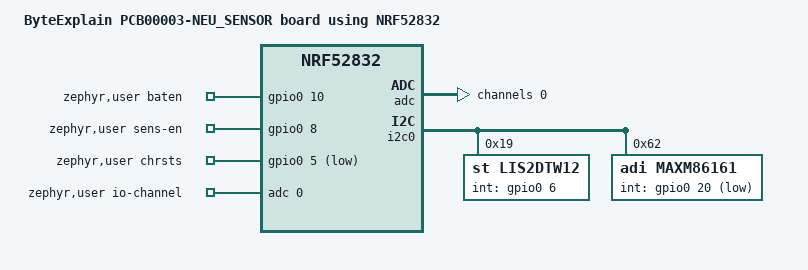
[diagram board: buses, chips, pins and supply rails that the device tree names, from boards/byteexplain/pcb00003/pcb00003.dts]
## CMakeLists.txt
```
cmake_minimum_required(VERSION 3.20.0)

# The repository root formerly carried an experimental application target. It
# is not the release entry point. Keep this explicit fence so a fresh checkout
# cannot silently build stale root/src sources instead of the canonical app/.
message(FATAL_ERROR "The repository root is not a firmware application entry point. For Gen1 use scripts/build_firmware.sh (app/, pcb00003/nrf52832, NCS v2.7.0). For the non-release Gen2 candidate use scripts/build_gen2_app.sh with explicit --ncs-root and --toolchain arguments; see docs/GEN2_PROGRAM_GATE.md.")

# Tell Zephyr to look in this project folder for the 'boards' directory
set(BOARD_ROOT ${CMAKE_CURRENT_SOURCE_DIR})

find_package(Zephyr REQUIRED HINTS $ENV{ZEPHYR_BASE})

project(tgm_firmware)

#
# Ensure generated headers exist early enough for out-of-tree driver targets.
# Some Zephyr headers include <offsets.h>, which is generated later in the build.
# Touching it here avoids parallel-build races while the real generator runs.
#
set(INCL_GENERATED_DIR ${CMAKE_BINARY_DIR}/zephyr/include/generated)
file(MAKE_DIRECTORY ${INCL_GENERATED_DIR})
file(TOUCH ${INCL_GENERATED_DIR}/offsets.h)
target_sources(app PRIVATE
    src/main.c
    src/ble.c
    src/ppg.c
    src/acc.c
    src/battery.c
    src/power_profiler.c
    src/tgm_service.c
    drivers/sensor/maxm86161/maxm86161.c
    drivers/sensor/lis2dtw12/lis2dtw12.c
)
target_include_directories(app PRIVATE src)
zephyr_include_directories(include)
add_subdirectory(drivers)
```

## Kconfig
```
# SPDX-License-Identifier: Apache-2.0

mainmenu "TGM Firmware"

source "Kconfig.zephyr"

# Application Kconfig
rsource "src/Kconfig"
rsource "drivers/Kconfig"
```

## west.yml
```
# Copyright (c) 2021 Nordic Semiconductor ASA
# SPDX-License-Identifier: Apache-2.0

manifest:
  self:
    path: app   # <--- Change this from '.' or empty to 'app'
    west-commands: scripts/west-commands.yml
  remotes:
    - name: ncs
      url-base: https://github.com/nrfconnect

  projects:
    - name: nrf
      remote: ncs
      repo-path: sdk-nrf
      revision: v2.7.0
      import: true
```

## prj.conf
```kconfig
# Copyright (c) 2024 WeeGee bv
#
# This file contains selected Kconfig options for the TGM application.

# Enable BLE
CONFIG_BT=y
CONFIG_BT_PERIPHERAL=y
CONFIG_BT_DEVICE_NAME="MAM"

# Peripheral connection preferences (interval in 1.25ms units; supervision timeout in 10ms units).
# NCS defaults use a very short supervision timeout (~420ms), which causes frequent iOS
# CBError.connectionTimeout under load, backgrounding, or bursty ATT traffic. Prefer >=2s.
CONFIG_BT_GAP_AUTO_UPDATE_CONN_PARAMS=y
CONFIG_BT_GAP_PERIPHERAL_PREF_PARAMS=y
CONFIG_BT_PERIPHERAL_PREF_MIN_INT=12
CONFIG_BT_PERIPHERAL_PREF_MAX_INT=36
CONFIG_BT_PERIPHERAL_PREF_LATENCY=0
#
# Supervision timeout in 10ms units. 300 (=3s) is too short for iOS under load
# and can trigger CBError.connectionTimeout even with good RSSI. Prefer >=10s.
CONFIG_BT_PERIPHERAL_PREF_TIMEOUT=1000

# For requesting ATT_MTU update
CONFIG_BT_GATT_CLIENT=y
# For data length update - requires BT_DATA_LEN_UPDATE
CONFIG_BT_DATA_LEN_UPDATE=y
CONFIG_BT_USER_DATA_LEN_UPDATE=y
# Max supported by Nordic Softdevice controller
CONFIG_BT_CTLR_DATA_LENGTH_MAX=251
CONFIG_BT_BUF_ACL_TX_SIZE=251
CONFIG_BT_BUF_ACL_RX_SIZE=251
# Maximum supported by Nordic Softdevice controller (Data length - 4)
CONFIG_BT_L2CAP_TX_MTU=247

# Enable the sensor drivers
CONFIG_GPIO=y
CONFIG_I2C=y
CONFIG_SENSOR=y
CONFIG_ADC=y

# PPG
CONFIG_MAXM86161=y
CONFIG_PPG_SAMPLES_PER_FRAME=20

# Accelerometer
CONFIG_LIS2DTW12=y
CONFIG_ACC_SAMPLES_PER_FRAME=25

# Battery - reduced from 300s to 10s for better iOS responsiveness
CONFIG_BATTERY_MEASUREMENT_INTERVAL=10
CONFIG_BATTERY_CRITICAL_LOW_SHUTDOWN=y

# Reboot for critical low voltage shutdown
CONFIG_REBOOT=y

# Temperature
CONFIG_TEMPERATURE_MEASUREMENT_INTERVAL=1

# Debugging
CONFIG_LOG=y
CONFIG_LOG_PROCESS_THREAD_STACK_SIZE=1024
CONFIG_DEBUG_OPTIMIZATIONS=y
CONFIG_DEBUG_THREAD_INFO=y

# J-Link RTT logging (lets us see BLE connect/disconnect reasons live).
CONFIG_PRINTK=y
CONFIG_USE_SEGGER_RTT=y
CONFIG_LOG_BACKEND_RTT=y
# Route printk/console to SEGGER RTT so buffer 0 + control block exist from boot
# (J-Link RTT Client / RTTLogger can attach without hunting forever).
CONFIG_CONSOLE=y
CONFIG_RTT_CONSOLE=y
# CONFIG_UART_CONSOLE is not set

# DFU functionality
CONFIG_NCS_SAMPLE_MCUMGR_BT_OTA_DFU=y
CONFIG_BOOTLOADER_MCUBOOT=y

# Ensure SMP (mcumgr over BLE) GATT service is present.
# nRF Connect Device Manager requires the SMP service to connect.
# Do NOT set CONFIG_BT_DFU_SMP here — that is the central SMP *client*
# (Central SMP Client sample), not the peripheral OTA server path.
# Canonical DFU Kconfigs live in app/prj.conf (west build -b pcb00003 … app).
CONFIG_MCUMGR=y
CONFIG_IMG_MANAGER=y
CONFIG_MCUMGR_GRP_IMG=y
CONFIG_MCUMGR_GRP_OS=y
CONFIG_MCUMGR_TRANSPORT_BT=y

# Register SMP GATT statically. Dynamic registration runs from SYS_INIT before our
# app calls bt_enable(), which can result in no SMP service at runtime.
CONFIG_MCUMGR_TRANSPORT_BT_DYNAMIC_SVC_REGISTRATION=n
```

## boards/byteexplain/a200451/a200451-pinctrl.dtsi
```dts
/*
 * Copyright (c) 2022 Nordic Semiconductor
 * SPDX-License-Identifier: Apache-2.0
 */

&pinctrl {
	i2c0_default: i2c0_default {
		group1 {
			psels = <NRF_PSEL(TWIM_SDA, 0, 18)>,
					<NRF_PSEL(TWIM_SCL, 0, 6)>;
		};
	};

	i2c0_sleep: i2c0_sleep {
		group1 {
			psels = <NRF_PSEL(TWIM_SDA, 0, 18)>,
					<NRF_PSEL(TWIM_SCL, 0, 6)>;
			low-power-enable;
		};
	};

};
```

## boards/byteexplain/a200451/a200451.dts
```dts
/*
 * Copyright (c) 2017 Shawn Nock <shawn@monadnock.ca>
 * Copyright (c) 2017 Linaro Limited
 *
 * SPDX-License-Identifier: Apache-2.0
 */

/dts-v1/;
#include <nordic/nrf52832_qfaa.dtsi>
#include "a200451-pinctrl.dtsi"
#include <zephyr/dt-bindings/input/input-event-codes.h>

/ {
	model = "ByteExplain a200451 board using NRF52832";
	compatible = "byteexplain,a200451";

	chosen {
		zephyr,sram = &sram0;
		zephyr,flash = &flash0;
		zephyr,code-partition = &slot0_partition;
	};

	/* These aliases are provided for compatibility with samples */
	aliases {
		watchdog0 = &wdt0;
	};
};

&adc {
	status = "okay";
};

&uicr {
	gpio-as-nreset;
};

&gpiote {
	status = "okay";
};

&gpio0 {
	status = "okay";
};

&i2c0 {
	compatible = "nordic,nrf-twi";
	status = "okay";
	pinctrl-0 = <&i2c0_default>;
	pinctrl-1 = <&i2c0_sleep>;
	pinctrl-names = "default", "sleep";
};

&flash0 {

	partitions {
		compatible = "fixed-partitions";
		#address-cells = <1>;
		#size-cells = <1>;

		boot_partition: partition@0 {
			label = "mcuboot";
			reg = <0x00000000 0xc000>;
		};
		slot0_partition: partition@c000 {
			label = "image-0";
			reg = <0x0000C000 0x37000>;
		};
		slot1_partition: partition@43000 {
			label = "image-1";
			reg = <0x00043000 0x37000>;
		};
		storage_partition: partition@7a000 {
			label = "storage";
			reg = <0x0007a000 0x00006000>;
		};
	};
};
```

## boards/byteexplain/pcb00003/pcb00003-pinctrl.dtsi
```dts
/*
 * Copyright (c) 2022 Nordic Semiconductor
 * SPDX-License-Identifier: Apache-2.0
 */

&pinctrl {
	i2c0_default: i2c0_default {
		group1 {
			psels = <NRF_PSEL(TWIM_SDA, 0, 7)>,
					<NRF_PSEL(TWIM_SCL, 0, 18)>;
		};
	};

	i2c0_sleep: i2c0_sleep {
		group1 {
			psels = <NRF_PSEL(TWIM_SDA, 0, 7)>,
					<NRF_PSEL(TWIM_SCL, 0, 18)>;
			low-power-enable;
		};
	};

};
```

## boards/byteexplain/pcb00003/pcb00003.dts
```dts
/*
 * Copyright (c) 2017 Shawn Nock <shawn@monadnock.ca>
 * Copyright (c) 2017 Linaro Limited
 *
 * SPDX-License-Identifier: Apache-2.0
 */

/dts-v1/;
#include <nordic/nrf52832_qfaa.dtsi>
#include "pcb00003-pinctrl.dtsi"
#include <zephyr/dt-bindings/input/input-event-codes.h>
#include <zephyr/dt-bindings/gpio/nordic-nrf-gpio.h>

/ {
	model = "ByteExplain PCB00003-NEU_SENSOR board using NRF52832";
	compatible = "byteexplain,pcb00003";

	chosen {
		zephyr,sram = &sram0;
		zephyr,flash = &flash0;
		zephyr,code-partition = &slot0_partition;
	};

	/* These aliases are provided for compatibility with samples */
	aliases {
		watchdog0 = &wdt0;
	};

	zephyr,user {
		baten-gpios = <&gpio0 10 GPIO_ACTIVE_HIGH>;
		sens-en-gpios = <&gpio0 8 GPIO_ACTIVE_HIGH>;
		chrsts-gpios = <&gpio0 5 (GPIO_ACTIVE_LOW | GPIO_PULL_UP)>;
		io-channels = <&adc 0>;
	};
};

&adc {
	status = "okay";
	#address-cells = <1>;
	#size-cells = <0>;

	channel@0 {
		reg = <0>;
		zephyr,gain = "ADC_GAIN_1";
		zephyr,reference = "ADC_REF_INTERNAL";
		zephyr,acquisition-time = <ADC_ACQ_TIME_DEFAULT>;
		zephyr,input-positive = <NRF_SAADC_AIN4>;
		zephyr,resolution = <12>;
	};
};

&uicr {
	gpio-as-nreset;
};

&gpiote {
	status = "okay";
};

&gpio0 {
	status = "okay";
};

&i2c0 {
	compatible = "nordic,nrf-twi";
	status = "okay";
	pinctrl-0 = <&i2c0_default>;
	pinctrl-1 = <&i2c0_sleep>;
	pinctrl-names = "default", "sleep";
	lis2dtw12: lis2dtw12@19 {
		compatible = "st,lis2dtw12";
		status = "okay";
		reg = <0x19>;
		int-gpios = <&gpio0 6 (GPIO_ACTIVE_HIGH)>;
	};
	maxm86161: maxm86161@62 {
		compatible = "adi,maxm86161";
		status = "okay";
		reg = <0x62>;
		int-gpios = <&gpio0 20 (GPIO_ACTIVE_LOW|GPIO_PULL_UP)>;
	};
};

&flash0 {

	partitions {
		compatible = "fixed-partitions";
		#address-cells = <1>;
		#size-cells = <1>;

		boot_partition: partition@0 {
			label = "mcuboot";
			reg = <0x00000000 0xc000>;
		};
		slot0_partition: partition@c000 {
			label = "image-0";
			reg = <0x0000C000 0x37000>;
		};
		slot1_partition: partition@43000 {
			label = "image-1";
			reg = <0x00043000 0x37000>;
		};
		storage_partition: partition@7a000 {
			label = "storage";
			reg = <0x0007a000 0x00006000>;
		};
	};
};
```

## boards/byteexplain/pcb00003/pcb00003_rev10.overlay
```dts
/*
 * REV10 overlay: SAADC 12-bit, 1/6 gain, 0.6V internal ref for CG-320B
 * Voltage divider 11: 4.35V peak -> ~0.395V at ADC input
 */

&adc {
	channel@0 {
		zephyr,gain = "ADC_GAIN_1_6";
	};
};
```

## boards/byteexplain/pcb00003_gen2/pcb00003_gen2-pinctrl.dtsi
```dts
/*
 * Copyright (c) 2026 ByteExplain / JAC Dental
 * SPDX-License-Identifier: Apache-2.0
 *
 * PCB00003-TGM-SCHEM-REV10 sheet 2, ES4L15BA1:
 *   SDA P1.07, SCL P1.03
 */

&pinctrl {
	/* nRF54 TWIM does not enable the pad pull-ups. Without them SCL
	 * stays low, every transfer times out, and the green LED write
	 * never reaches the MAXM86161.
	 */
	i2c22_default: i2c22_default {
		group1 {
			psels = <NRF_PSEL(TWIM_SDA, 1, 7)>,
				<NRF_PSEL(TWIM_SCL, 1, 3)>;
			bias-pull-up;
		};
	};

	i2c22_sleep: i2c22_sleep {
		group1 {
			psels = <NRF_PSEL(TWIM_SDA, 1, 7)>,
				<NRF_PSEL(TWIM_SCL, 1, 3)>;
			bias-pull-up;
			low-power-enable;
		};
	};
};
```

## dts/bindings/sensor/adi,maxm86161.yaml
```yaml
# Copyright (c) 2024 WeeGee bv

description: MAXM86161 Integrated Optical Module for Heart Rate and SpO2 Measurement

compatible: "adi,maxm86161"

include: [sensor-device.yaml, i2c-device.yaml]

properties:
  int-gpios:
    type: phandle-array
    required: false
    description: Interrupt pin.
```

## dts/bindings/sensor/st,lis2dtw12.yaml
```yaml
# Copyright (c) 2024 WeeGee bv

description: LIS2DTW12 MEMS digital output dual motion and temperature sensor

compatible: "st,lis2dtw12"

include: [sensor-device.yaml, i2c-device.yaml]

properties:
  int-gpios:
    type: phandle-array
    required: false
    description: Interrupt pin.
```

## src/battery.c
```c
/*
 * Copyright (c) 2024 WeeGee bv
 * PROJECT: POWER_PROFILER_INTEGRATION (2026-02-27)
 *
 * nRF52832 SAADC battery measurement for CG-320B (15 mAh).
 * ADC: 12-bit, 0.6V internal ref, devicetree gain (PCB uses ADC_GAIN_1).
 * For REV10 with 1/6 gain: add overlay with zephyr,gain = "ADC_GAIN_1_6".
 * Voltage divider scale 11: 4.35V peak -> ~0.395V at ADC input.
 */

#include <zephyr/kernel.h>
#include <zephyr/device.h>
#include <zephyr/devicetree.h>
#include <zephyr/drivers/adc.h>
#include <zephyr/drivers/gpio.h>
#include <zephyr/sys/reboot.h>
#include <zephyr/dt-bindings/adc/nrf-adc.h>

#include "battery.h"
#include "power_profiler.h"
#include "tgm_service.h"

#include <zephyr/logging/log.h>
LOG_MODULE_REGISTER(battery, CONFIG_APP_LOG_LEVEL);

/* Set to 1 to sweep AIN0..AIN7 every battery tick. Used to identify which
 * SAADC channel actually carries the battery divider on REV10 hardware
 * after the v1.0.20 evidence ruled out P0.10 (baten) as the gate for
 * AIN4. Disable in production once the correct channel is in devicetree.
 */
#define BATTERY_ADC_SWEEP 1

#define VOLTAGE_DIVIDER_SCALE 11
/* Plausible LiPo voltage bounds (mV) for sanity-checking scaling. */
#define BATTERY_VOLTAGE_MIN_MV 2000
#define BATTERY_VOLTAGE_MAX_MV 5000

/* Plausibility window for the raw ADC-pin millivolt reading itself
 * (i.e. BEFORE applying VOLTAGE_DIVIDER_SCALE).
 *
 * - The nRF52 SAADC pin physically can only see 0..0.6 V (ADC_GAIN_1) or
 *   0..3.6 V (ADC_GAIN_1_6). Anything outside [50 mV, 4000 mV] at the pin
 *   means the sample is corrupt — typically:
 *     * raw=-1 sign-issue from a uint vs int16_t mistake
 *     * the divider FET hasn't actually powered up (raw≈0)
 *     * pin contention with PPG/ACC bring-up
 *
 * Bogus samples are dropped without updating battery_value or the smoothing
 * history, and never fall into the critical-low shutdown path.
 */
#define IMPLAUSIBLE_RAW_MV_MIN  50
#define IMPLAUSIBLE_RAW_MV_MAX  4000

/* User gauge, Gen1 CG-320B only: charger float 4.20 V = 100%, 3.61 V = 0%.
 * Gen2 (LP260820) needs its own full-scale and hold voltages.
 */
#define CG320B_VMAX_MV 4200
#define CG320B_VMIN_MV  3610

/* Critical low threshold - protects cell from over-discharge */
#define CRITICAL_LOW_VOLTAGE_MV 2800

/* Rolling max of recent readings to ignore LED-pulse voltage sag.
 * Prevents "percent jumps" during high-current PPG LED pulses.
 */
#define VOLTAGE_SMOOTH_SAMPLES 3
static int32_t voltage_history[VOLTAGE_SMOOTH_SAMPLES];
static uint8_t voltage_history_idx;

static const struct adc_dt_spec adc_chan0 = ADC_DT_SPEC_GET_BY_IDX(DT_PATH(zephyr_user), 0);
static const struct gpio_dt_spec battery_enable = GPIO_DT_SPEC_GET_BY_IDX(DT_PATH(zephyr_user), baten_gpios, 0);

/* MUST be int16_t. The nRF52 SAADC stores 12-bit samples as a SIGNED 16-bit
 * value. With single-ended input and the divider unpowered/transient, the
 * SAADC happily returns a small negative reading (e.g. raw=-1 = 0xFFFF) which,
 * if cast through uint16_t, becomes 65535 and scales to ~57.6 V at the pin —
 * the v1.0.17 "raw_mv=57596" symptom. Storing as int16_t makes the sign
 * extend correctly so a -1 raw becomes ~0 mV after adc_raw_to_millivolts_dt,
 * which our IMPLAUSIBLE_RAW_MV guard then rejects.
 */
static int16_t adc_buf;
static struct adc_sequence sequence = {
    .buffer = &adc_buf,
    .buffer_size = sizeof(adc_buf),
};

static int32_t battery_value;

static struct k_work_delayable battery_measurement_work;

static battery_data_ready_t app_data_ready;

static uint16_t measurement_interval_s = CONFIG_BATTERY_MEASUREMENT_INTERVAL;

static bool is_plausible_battery_mv(int32_t mv)
{
    return (mv >= BATTERY_VOLTAGE_MIN_MV && mv <= BATTERY_VOLTAGE_MAX_MV);
}

#if BATTERY_ADC_SWEEP
/* Diagnostic: read each of the 8 nRF52832 SAADC inputs in turn and log the
 * raw count plus the millivolt value at the pin and the x11-divider-scaled
 * battery voltage. The channel that consistently shows ~360 mV at the pin
 * (or ~3700-4400 mV scaled) is the one the divider is wired to.
 *
 * AIN0..7 map to P0.02, P0.03, P0.04, P0.05, P0.28, P0.29, P0.30, P0.31.
 *
 * Note about AIN3 (P0.05): this is the SAME pin as chrsts (charging-status
 * input with pull-up). Its reading reflects the GPIO pull-up state, not a
 * battery measurement. Treat AIN3 as noise.
 */
static void sweep_adc_channels(const char *label)
{
    static const uint8_t ain_pin[8] = { 2, 3, 4, 5, 28, 29, 30, 31 };
    static const uint8_t saadc_input[8] = {
        NRF_SAADC_AIN0, NRF_SAADC_AIN1, NRF_SAADC_AIN2, NRF_SAADC_AIN3,
        NRF_SAADC_AIN4, NRF_SAADC_AIN5, NRF_SAADC_AIN6, NRF_SAADC_AIN7,
    };

    LOG_INF("[ADC-SWEEP %s] start (gain 1/6, ref 0.6V, 12-bit, full pin range 0..3.6V)", label);

    for (int i = 0; i < 8; i++) {
        struct adc_channel_cfg ch_cfg = {
            .gain = ADC_GAIN_1_6,
            .reference = ADC_REF_INTERNAL,
            .acquisition_time = ADC_ACQ_TIME_DEFAULT,
            .channel_id = 0,
            .differential = 0,
            .input_positive = saadc_input[i],
        };

        int err = adc_channel_setup(adc_chan0.dev, &ch_cfg);
        if (err) {
            LOG_WRN("[ADC-SWEEP] AIN%d (P0.%02d): setup err=%d", i, ain_pin[i], err);
            continue;
        }

        struct adc_sequence seq = {
            .channels = BIT(0),
            .buffer = &adc_buf,
            .buffer_size = sizeof(adc_buf),
            .resolution = 12,
        };

        err = adc_read(adc_chan0.dev, &seq);
        if (err) {
            LOG_WRN("[ADC-SWEEP] AIN%d (P0.%02d): read err=%d", i, ain_pin[i], err);
            continue;
        }

        int32_t raw = (int32_t)adc_buf;
        /* Manual conversion: pin_mv = raw * (3600 / 4095) for gain 1/6. */
        int32_t pin_mv = (raw * 3600) / 4095;
        int32_t x11_mv = pin_mv * VOLTAGE_DIVIDER_SCALE;

        LOG_INF("[ADC-SWEEP %s] AIN%d (P0.%02d): raw=%d  pin=%dmV  x11=%dmV%s",
                label, i, ain_pin[i], raw, pin_mv, x11_mv,
                (pin_mv > 200 && pin_mv < 600) ? "  <-- looks like a 1:11 divider" :
                (pin_mv > 2800 && pin_mv < 4400) ? "  <-- looks like raw Vbat (no divider)" :
                "");

        /* Let RTT (1024-byte buffer) drain between channels so all 8 lines
         * actually make it out instead of getting clipped.
         */
        k_sleep(K_MSEC(30));
    }

    LOG_INF("[ADC-SWEEP %s] done", label);

    /* Restore the devicetree-defined channel 0 config so the production
     * single-channel read after the sweep uses the original AIN/gain.
     */
    (void)adc_channel_setup_dt(&adc_chan0);
}
#endif /* BATTERY_ADC_SWEEP */

static void take_battery_measurement(struct k_work *work)
{
    int err;

    /* P0.10 (baten) is driven HIGH once at battery_init() and stays high.
     * v1.0.20 confirmed that toggling it had no effect on the divider —
     * P0.10 is most likely the boost-regulator latch, not the divider gate.
     * Leaving it high is harmless either way.
     */

#if BATTERY_ADC_SWEEP
    /* Diagnostic: single sweep with baten=HIGH only.
     *
     * v1.0.22 attempted a 2-pass matrix that toggled baten=LOW for ~250 ms
     * to identify the divider's enable pin. On battery power that bricked
     * the device: P0.10 (baten) is the BOOST REGULATOR latch, not a divider
     * gate. Driving it LOW de-latched the boost, the 3V3 rail decayed through
     * the output cap, the chip browned out, and a re-config to
     * GPIO_OUTPUT_HIGH on the next boot was not enough to re-latch the boost.
     * Symptom on the bench: red "running" LED comes on, then goes off after
     * ~10 s (when the first sweep tick fired), and the device disappears
     * from BLE. USB power is the only way to recover.
     *
     * Conclusion: the divider on this board is ALWAYS-ON (no enable gate).
     * We just keep baten HIGH and read the candidate AIN. AIN7 (P0.31) was
     * the most plausible Li-ion divider in the v1.0.21 sweep — see the
     * pcb00003_rev10.overlay change in v1.0.23.
     */
    sweep_adc_channels("BATEN=H");
#endif

    // Read the battery voltage on the devicetree-configured channel
    err = adc_read(adc_chan0.dev, &sequence);
    if (err)
    {
        LOG_ERR("ADC read failed, err %d", err);
    }
    else
    {
        int32_t raw_mv = (int32_t)adc_buf;

        err = adc_raw_to_millivolts_dt(&adc_chan0, &raw_mv);
        if (err)
        {
            LOG_ERR("ADC raw to millivolts failed, err %d", err);
        }
        else if (raw_mv < IMPLAUSIBLE_RAW_MV_MIN || raw_mv > IMPLAUSIBLE_RAW_MV_MAX)
        {
            /* Reject single bogus samples (typically caused by transient pin
             * contention while PPG/ACC are powering up, or a sign-mismatch
             * giving 65535 → ~57.6 V). DO NOT update battery_value, DO NOT
             * touch the smoothing history, and DO NOT fall into the
             * critical-low shutdown path on the basis of one fluke reading.
             */
            LOG_WRN("Battery: implausible raw_mv=%d (window %d..%dmV) — sample discarded",
                    raw_mv, IMPLAUSIBLE_RAW_MV_MIN, IMPLAUSIBLE_RAW_MV_MAX);
        }
        else
        {
            /* Scale to actual battery voltage */
            /* Default scaling: SAADC pin sees Vbat / 11. */
            const int32_t v_div = raw_mv * VOLTAGE_DIVIDER_SCALE;
            /* Fallbacks for misconfigured gain/overlay builds:
             * - Some boards/builds may end up with an effective 6x mismatch in adc_raw_to_millivolts_dt().
             * - Some hardware variants may not match the assumed divider scale.
             */
            const int32_t v_nodiv = raw_mv;
            const int32_t v_div_over6 = (raw_mv * VOLTAGE_DIVIDER_SCALE) / 6;
            const int32_t v_nodiv_over6 = raw_mv / 6;

            int32_t chosen = v_div;
            if (!is_plausible_battery_mv(chosen)) {
                if (is_plausible_battery_mv(v_div_over6)) {
                    chosen = v_div_over6;
                    LOG_WRN("Battery scaling fallback: using divider/6 (raw_mv=%d -> %dmV)", raw_mv, chosen);
                } else if (is_plausible_battery_mv(v_nodiv)) {
                    chosen = v_nodiv;
                    LOG_WRN("Battery scaling fallback: using no-divider (raw_mv=%d -> %dmV)", raw_mv, chosen);
                } else if (is_plausible_battery_mv(v_nodiv_over6)) {
                    chosen = v_nodiv_over6;
                    LOG_WRN("Battery scaling fallback: using no-divider/6 (raw_mv=%d -> %dmV)", raw_mv, chosen);
                } else {
                    /* Last resort: clamp into range to avoid emitting nonsense values. */
                    if (chosen < BATTERY_VOLTAGE_MIN_MV) {
                        chosen = BATTERY_VOLTAGE_MIN_MV;
                    } else if (chosen > BATTERY_VOLTAGE_MAX_MV) {
                        chosen = BATTERY_VOLTAGE_MAX_MV;
                    }
                    LOG_WRN("Battery scaling out of range: raw_mv=%d v_div=%d clamped_to=%dmV",
                            raw_mv, v_div, chosen);
                }
            }

            battery_value = chosen;

            /* Rolling max: ignore brief drops during LED pulses */
            voltage_history[voltage_history_idx] = battery_value;
            voltage_history_idx = (voltage_history_idx + 1) % VOLTAGE_SMOOTH_SAMPLES;
            int32_t max_v = voltage_history[0];
            for (int i = 1; i < VOLTAGE_SMOOTH_SAMPLES; i++) {
                if (voltage_history[i] > max_v) max_v = voltage_history[i];
            }
            uint8_t battery_pct = battery_voltage_to_percent(max_v);

#if defined(CONFIG_BATTERY_CRITICAL_LOW_SHUTDOWN)
            /* Only trigger the protective shutdown when the smoothed rolling
             * MAX is below the critical threshold. A single bad sample (e.g.
             * caused by ADC contention with PPG/ACC bring-up, or a momentary
             * dip during an LED pulse) must NEVER reboot the device — that
             * was the v1.0.16 reboot loop.
             *
             * We also require the smoothing window to be filled with real
             * readings (no zeroed history slots) so that an early bad sample
             * cannot trip the gate while voltage_history[1..2] are still 0.
             */
            bool history_filled = true;
            for (int i = 0; i < VOLTAGE_SMOOTH_SAMPLES; i++) {
                if (voltage_history[i] == 0) {
                    history_filled = false;
                    break;
                }
            }
            if (history_filled && max_v < CRITICAL_LOW_VOLTAGE_MV) {
                LOG_ERR("Battery critical: max(last %d)=%dmV < %dmV - shutting down to protect cell",
                        VOLTAGE_SMOOTH_SAMPLES, max_v, CRITICAL_LOW_VOLTAGE_MV);
                k_msleep(100); /* Allow log to flush */
                sys_reboot(SYS_REBOOT_COLD);
            }
#endif
            LOG_INF("Battery: %dmV -> %d%%", battery_value, battery_pct);
            tgm_service_send_battery_notify(battery_value);
            if (app_data_ready)
            {
                app_data_ready(battery_value);
            }
        }
    }

    /* Intentionally NOT disabling the divider here — see the rationale at
     * the top of take_battery_measurement(). Toggling P0.10 off broke every
     * measurement after the first one in v1.0.16..v1.0.19.
     */

    // Schedule the next measurement (runtime-configurable)
    if (measurement_interval_s > 0)
    {
        k_work_reschedule(&battery_measurement_work, K_SECONDS(measurement_interval_s));
    }
    return;
}

int battery_init(battery_data_ready_t battery_data_ready_cb)
{
    if (!adc_is_ready_dt(&adc_chan0))
    {
        LOG_ERR("ADC device not ready");
        return -ENODEV;
    }

    int err = adc_channel_setup_dt(&adc_chan0);
    if (err)
    {
        LOG_ERR("ADC channel setup failed, err %d", err);
        return err;
    }

    err = adc_sequence_init_dt(&adc_chan0, &sequence);
    if (err)
    {
        LOG_ERR("ADC sequence init failed, err %d", err);
        return err;
    }

    app_data_ready = battery_data_ready_cb;
    k_work_init_delayable(&battery_measurement_work, take_battery_measurement);

    /* Initialize voltage history for smoothing */
    for (int i = 0; i < VOLTAGE_SMOOTH_SAMPLES; i++) {
        voltage_history[i] = 0;
    }
    voltage_history_idx = 0;

    /* Drive baten HIGH for the lifetime of the device. The divider is now
     * permanently enabled — we deliberately use GPIO_OUTPUT_HIGH (not
     * plain GPIO_OUTPUT then a separate set) so the line is high the
     * instant the pad mux switches to push-pull, with no transient float.
     */
    err = gpio_pin_configure_dt(&battery_enable, GPIO_OUTPUT_HIGH);
    if (err)
    {
        LOG_ERR("GPIO pin configure (baten=HIGH) failed, err %d", err);
        return err;
    }

    /* One-time settle for the divider RC. Subsequent measurements run with
     * the divider already long-stable, so no per-call delay is needed.
     */
    k_sleep(K_MSEC(20));

    return err;
}

int battery_start_measurement()
{
    // Take an immediate measurement
    int err = k_work_reschedule(&battery_measurement_work, K_NO_WAIT);
    if (err < 0)
    {
        return err;
    }
    else
    {
        return 0;
    }
}

int32_t battery_get_last_measurement()
{
    return battery_value;
}

uint8_t battery_voltage_to_percent(int32_t voltage_mv)
{
    /* User gauge: 4.20 V = 100%, 3.61 V = remapped 0% (operational empty). */
    if (voltage_mv >= CG320B_VMAX_MV) return 100;
    if (voltage_mv <= CG320B_VMIN_MV) return 0;
    /* percent = (V - Vmin) * 100 / (Vmax - Vmin) */
    int32_t range = CG320B_VMAX_MV - CG320B_VMIN_MV;
    int32_t pct = (voltage_mv - CG320B_VMIN_MV) * 100 / range;
    return (uint8_t)(pct > 100 ? 100 : pct);
}

uint8_t battery_get_percentage(void)
{
    return battery_voltage_to_percent(battery_value);
}

void battery_get_usage_telemetry(struct battery_usage_telemetry_t *out)
{
    if (!out) {
        return;
    }
    out->voltage_mv = battery_value;
    out->percent = battery_voltage_to_percent(battery_value);
    /* Link to power_profiler: mAh consumed (scaled x100) and remaining minutes */
    float total_mah = power_profiler_get_total_mah();
    out->mah_consumed_scaled = (uint32_t)(total_mah * 100.0f);
    out->remaining_minutes = power_profiler_get_remaining_minutes();
}

void battery_set_measurement_interval_seconds(uint16_t seconds)
{
    measurement_interval_s = seconds;
    /* Defensive: do NOT reschedule if the work has not yet been initialised
     * (battery_init() not yet called from safe_boot_work_handler). Scheduling
     * an uninitialised k_work_delayable corrupts the kernel timeout list when
     * k_work_init_delayable() later zeroes the struct. handler==NULL is the
     * canonical "not init'd" sentinel for k_work.
     */
    if (measurement_interval_s > 0 && battery_measurement_work.work.handler != NULL)
    {
        k_work_reschedule(&battery_measurement_work, K_SECONDS(measurement_interval_s));
    }
}

uint16_t battery_get_measurement_interval_seconds(void)
{
    return measurement_interval_s;
}
```
